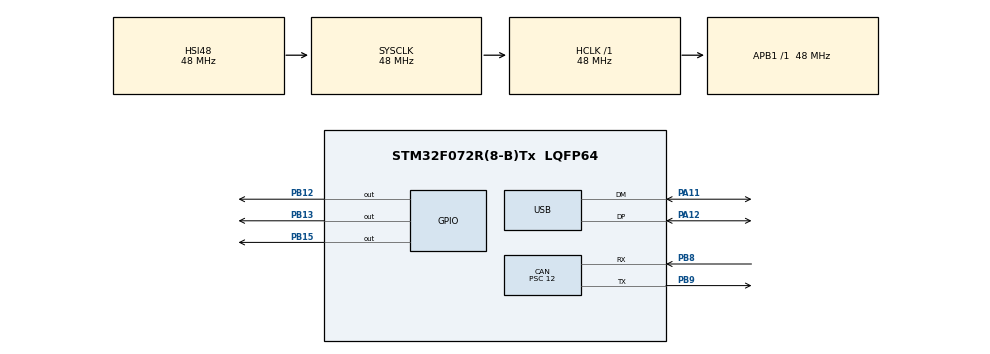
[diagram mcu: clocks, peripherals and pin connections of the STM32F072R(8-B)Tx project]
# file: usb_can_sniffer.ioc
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CAN.BS1=CAN_BS1_4TQ
CAN.BS2=CAN_BS2_3TQ
CAN.CalculateTimeQuantum=250.0
CAN.Prescaler=12
Mcu.Family=STM32F0
Mcu.Name=STM32F072R(8-B)Tx
Mcu.Package=LQFP64
NVIC.CEC_CAN_IRQn=true\:0\:0\:true\:false\:true\:true\:true
NVIC.TIM3_IRQn=true\:3\:0\:true\:false\:true\:true\:true
NVIC.USB_IRQn=true\:0\:0\:true\:false\:true\:false\:true
PA11.Mode=Device
PA11.Signal=USB_DM
PA12.Mode=Device
PA12.Signal=USB_DP
PA13.Mode=Serial_Wire
PA13.Signal=SYS_SWDIO
PA14.Mode=Serial_Wire
PA14.Signal=SYS_SWCLK
PB12.Signal=GPIO_Output
PB13.Signal=GPIO_Output
PB15.PinState=GPIO_PIN_SET
PB15.Signal=GPIO_Output
PB8.Mode=Master
PB8.Signal=CAN_RX
PB9.Mode=Master
PB9.Signal=CAN_TX
ProjectManager.HeapSize=0x200
ProjectManager.StackSize=0x400
ProjectManager.TargetToolchain=STM32CubeIDE
RCC.AHBFreq_Value=48000000
RCC.APB1Freq_Value=48000000
RCC.APB1TimFreq_Value=48000000
RCC.HCLKFreq_Value=48000000
RCC.SYSCLKFreq_VALUE=48000000
RCC.SYSCLKSource=RCC_SYSCLKSOURCE_HSI48
TIM3.Period=999
TIM3.Prescaler=47
USB_DEVICE.CLASS_NAME_FS=CUSTOM_HID
USB_DEVICE.CUSTOM_HID_FS_BINTERVAL=0x1
USB_DEVICE.MANUFACTURER_STRING=FOXLINK
USB_DEVICE.PID_CUSTOMHID_FS=22136
USB_DEVICE.PRODUCT_STRING_CUSTOMHID_FS=USB HID-TO-CAN
USB_DEVICE.USBD_CUSTOMHID_OUTREPORT_BUF_SIZE=64
USB_DEVICE.USBD_CUSTOM_HID_REPORT_DESC_SIZE=33
USB_DEVICE.VID=4660
USB_DEVICE.VirtualMode=CustomHid
USB_DEVICE.VirtualModeFS=Custom_Hid_FS
VP_TIM3_VS_ClockSourceINT.Mode=Internal
VP_USB_DEVICE_VS_USB_DEVICE_CUSTOM_HID_FS.Mode=CUSTOM_HID_FS
board=custom

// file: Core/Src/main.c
/* USER CODE BEGIN Header */
/**
 ******************************************************************************
 * @file           : main.c
 * @brief          : Main program body
 ******************************************************************************
 * @attention
 *
 * <h2><center>&copy; Copyright (c) 2019 STMicroelectronics.
 * All rights reserved.</center></h2>
 *
 * This software component is licensed by ST under BSD 3-Clause license,
 * the "License"; You may not use this file except in compliance with the
 * License. You may obtain a copy of the License at:
 *                        opensource.org/licenses/BSD-3-Clause
 *
 ******************************************************************************
 */
/* USER CODE END Header */

#include "main.h"
#include "usb_device.h"

CAN_HandleTypeDef hcan;

TIM_HandleTypeDef htim3;

/* USER CODE BEGIN PV */
extern USBD_HandleTypeDef hUsbDeviceFS;
extern void message_transport(void);
extern usb_message_t usb_rx_buf;
/* USER CODE END PV */

void SystemClock_Config(void);
static void MX_GPIO_Init(void);
static void MX_CAN_Init(void);
static void MX_TIM3_Init(void);

/* USER CODE BEGIN 0 */
uint8_t sniffer_mode;
/* USER CODE END 0 */

int main(void)
{

  /* MCU Configuration--------------------------------------------------------*/

  /* Reset of all peripherals, Initializes the Flash interface and the Systick. */
  HAL_Init();

  /* Configure the system clock */
  SystemClock_Config();

  /* USER CODE BEGIN SysInit */
#ifdef __DEBUG_PRINTF__
  initialise_monitor_handles();
#endif
  /* USER CODE END SysInit */

  /* Initialize all configured peripherals */
  MX_GPIO_Init();
  MX_USB_DEVICE_Init();
  MX_CAN_Init();
  MX_TIM3_Init();
  /* USER CODE BEGIN 2 */
	CAN_Filter_Init();
	message_buffer_init();

	g_usb_rx_complete = false;
	memset(usb_rx_buf.packet.payload, 0, 64);
	sniffer_mode = CONFIG_MODE;
  /* USER CODE END 2 */

  /* Infinite loop */
  /* USER CODE BEGIN WHILE */

	while (1)
	{

		if (hUsbDeviceFS.dev_state == USBD_STATE_CONFIGURED)
		{
			switch (sniffer_mode)
			{

			case CONFIG_MODE:

				can_sniffer_config();

				break;

			case CAPTURE_MODE:

				HAL_CAN_Start(&hcan);
				message_transport();

				break;
			}

		}

		//HAL_Delay(2000);
    /* USER CODE END WHILE */

	}
}

void SystemClock_Config(void)
{
  RCC_OscInitTypeDef RCC_OscInitStruct = {0};
  RCC_ClkInitTypeDef RCC_ClkInitStruct = {0};
  RCC_PeriphCLKInitTypeDef PeriphClkInit = {0};

  /** Initializes the CPU, AHB and APB busses clocks
  */
  RCC_OscInitStruct.OscillatorType = RCC_OSCILLATORTYPE_HSI48;
  RCC_OscInitStruct.HSI48State = RCC_HSI48_ON;
  RCC_OscInitStruct.PLL.PLLState = RCC_PLL_NONE;
  if (HAL_RCC_OscConfig(&RCC_OscInitStruct) != HAL_OK)
  {
    Error_Handler();
  }
  /** Initializes the CPU, AHB and APB busses clocks
  */
  RCC_ClkInitStruct.ClockType = RCC_CLOCKTYPE_HCLK|RCC_CLOCKTYPE_SYSCLK
                              |RCC_CLOCKTYPE_PCLK1;
  RCC_ClkInitStruct.SYSCLKSource = RCC_SYSCLKSOURCE_HSI48;
  RCC_ClkInitStruct.AHBCLKDivider = RCC_SYSCLK_DIV1;
  RCC_ClkInitStruct.APB1CLKDivider = RCC_HCLK_DIV1;

  if (HAL_RCC_ClockConfig(&RCC_ClkInitStruct, FLASH_LATENCY_1) != HAL_OK)
  {
    Error_Handler();
  }
  PeriphClkInit.PeriphClockSelection = RCC_PERIPHCLK_USB;
  PeriphClkInit.UsbClockSelection = RCC_USBCLKSOURCE_HSI48;

  if (HAL_RCCEx_PeriphCLKConfig(&PeriphClkInit) != HAL_OK)
  {
    Error_Handler();
  }
}

static void MX_CAN_Init(void)
{

  /* USER CODE BEGIN CAN_Init 1 */
#if 1 // 1Mbps
	hcan.Instance = CAN;
	hcan.Init.Prescaler = 12;
	hcan.Init.Mode = CAN_MODE_NORMAL;
	hcan.Init.SyncJumpWidth = CAN_SJW_1TQ;
	hcan.Init.TimeSeg1 = CAN_BS1_2TQ;
	hcan.Init.TimeSeg2 = CAN_BS2_1TQ;
	hcan.Init.TimeTriggeredMode = DISABLE;
	hcan.Init.AutoBusOff = DISABLE;
	hcan.Init.AutoWakeUp = DISABLE;
	hcan.Init.AutoRetransmission = DISABLE;
	hcan.Init.ReceiveFifoLocked = DISABLE;
	hcan.Init.TransmitFifoPriority = DISABLE;
	if (HAL_CAN_Init(&hcan) != HAL_OK)
	{
		Error_Handler();
	}
#else  // 500kbps
  /* USER CODE END CAN_Init 1 */
  hcan.Instance = CAN;
  hcan.Init.Prescaler = 12;
  hcan.Init.Mode = CAN_MODE_NORMAL;
  hcan.Init.SyncJumpWidth = CAN_SJW_1TQ;
  hcan.Init.TimeSeg1 = CAN_BS1_4TQ;
  hcan.Init.TimeSeg2 = CAN_BS2_3TQ;
  hcan.Init.TimeTriggeredMode = DISABLE;
  hcan.Init.AutoBusOff = DISABLE;
  hcan.Init.AutoWakeUp = DISABLE;
  hcan.Init.AutoRetransmission = DISABLE;
  hcan.Init.ReceiveFifoLocked = DISABLE;
  hcan.Init.TransmitFifoPriority = DISABLE;
  if (HAL_CAN_Init(&hcan) != HAL_OK)
  {
    Error_Handler();
  }
  /* USER CODE BEGIN CAN_Init 2 */
#endif
  /* USER CODE END CAN_Init 2 */

}

static void MX_TIM3_Init(void)
{

  TIM_ClockConfigTypeDef sClockSourceConfig = {0};
  TIM_MasterConfigTypeDef sMasterConfig = {0};

  htim3.Instance = TIM3;
  htim3.Init.Prescaler = 47;
  htim3.Init.CounterMode = TIM_COUNTERMODE_UP;
  htim3.Init.Period = 999;
  htim3.Init.ClockDivision = TIM_CLOCKDIVISION_DIV1;
  htim3.Init.AutoReloadPreload = TIM_AUTORELOAD_PRELOAD_DISABLE;
  if (HAL_TIM_Base_Init(&htim3) != HAL_OK)
  {
    Error_Handler();
  }
  sClockSourceConfig.ClockSource = TIM_CLOCKSOURCE_INTERNAL;
  if (HAL_TIM_ConfigClockSource(&htim3, &sClockSourceConfig) != HAL_OK)
  {
    Error_Handler();
  }
  sMasterConfig.MasterOutputTrigger = TIM_TRGO_RESET;
  sMasterConfig.MasterSlaveMode = TIM_MASTERSLAVEMODE_DISABLE;
  if (HAL_TIMEx_MasterConfigSynchronization(&htim3, &sMasterConfig) != HAL_OK)
  {
    Error_Handler();
  }

}

static void MX_GPIO_Init(void)
{
  GPIO_InitTypeDef GPIO_InitStruct = {0};

  /* GPIO Ports Clock Enable */
  __HAL_RCC_GPIOB_CLK_ENABLE();
  __HAL_RCC_GPIOA_CLK_ENABLE();

  /*Configure GPIO pin Output Level */
  HAL_GPIO_WritePin(GPIOB, GPIO_PIN_12|GPIO_PIN_13, GPIO_PIN_RESET);

  /*Configure GPIO pin Output Level */
  HAL_GPIO_WritePin(GPIOB, GPIO_PIN_15, GPIO_PIN_SET);

  /*Configure GPIO pins : PB12 PB13 PB15 */
  GPIO_InitStruct.Pin = GPIO_PIN_12|GPIO_PIN_13|GPIO_PIN_15;
  GPIO_InitStruct.Mode = GPIO_MODE_OUTPUT_PP;
  GPIO_InitStruct.Pull = GPIO_NOPULL;
  GPIO_InitStruct.Speed = GPIO_SPEED_FREQ_LOW;
  HAL_GPIO_Init(GPIOB, &GPIO_InitStruct);

}

void Error_Handler(void)
{
}

/************************ (C) COPYRIGHT STMicroelectronics *****END OF FILE****/
